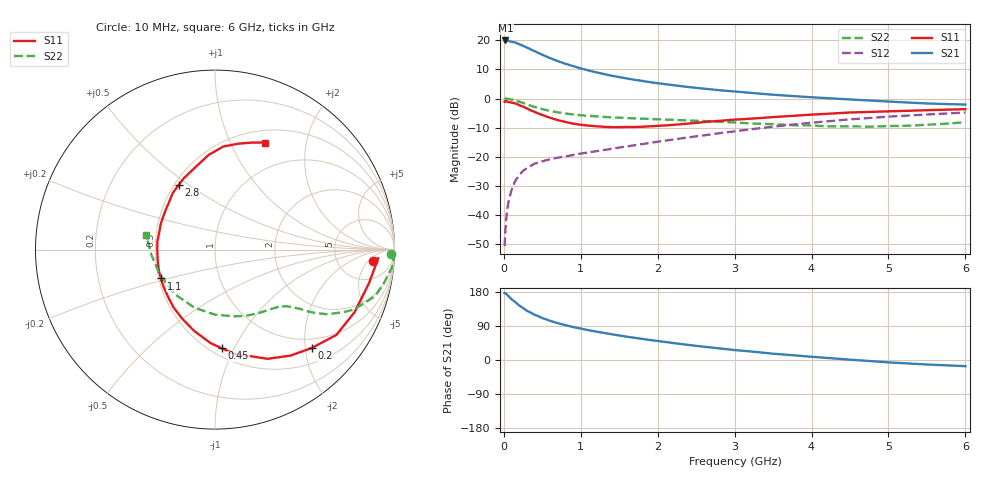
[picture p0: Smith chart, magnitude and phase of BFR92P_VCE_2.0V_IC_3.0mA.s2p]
! Infineon Technologies  Discrete & RF Semiconductors
! BFR92P
! VCE =  2.0 V,  IC =  3.0 mA
! Common Emitter S-Parameters:  Apr 2014
# GHz  S  MA  R  50
!  f  S11  S21  S12  S22
! GHz  MAG  ANG  MAG  ANG  MAG  ANG  MAG  ANG
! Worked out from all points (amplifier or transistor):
!   77 points, 10 MHz to 6 GHz, reference 50 ohm
!   highest |S21| = 20.0 dB at 20 MHz (marker M1)
!   |S21| within 3 dB of that: start of sweep to 343.9 MHz
!   unconditionally stable (mu >= 1): 1.205 GHz to 3.023 GHz
!   at 130 MHz: K = 0.16, MSG = 24.4 dB, |S12| = -29.4 dB
!   at 2.2 GHz: K = 1.08, MAG = 7.6 dB, |S12| = -14.1 dB
!   at 6 GHz: K = 0.90, MSG = 1.4 dB, |S12| = -4.8 dB
!   S11 on the Smith chart (normalised r, x): 10 MHz: 12, -7; 200 MHz: 0.80, -2.14; 450 MHz: 0.57, -0.90; 1.1 GHz: 0.51, -0.19; 2.8 GHz: 0.53, +0.46; 6 GHz: 0.65, +1.36
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0.01  0.8798 -4.1  9.763 176.7  0.0029 87.3  0.9831 -1.3
0.02  0.9105 -3.0  9.953 176.3  0.0054 90.9  0.9986 -2.3
0.05  0.8789 -12.1  9.874 170.6  0.0139 82.0  0.9909 -5.7
0.1  0.8527 -24.0  9.454 160.4  0.0265 76.6  0.9601 -11.1
0.15  0.8268 -35.1  9.181 152.6  0.0387 72.1  0.9298 -16.1
0.2  0.7687 -45.5  8.584 143.6  0.0484 66.6  0.8801 -20.0
0.3  0.6753 -64.3  7.513 129.9  0.0638 59.3  0.7916 -26.2
0.4  0.5887 -79.8  6.515 119.3  0.0757 54.1  0.7173 -30.1
0.45  0.5517 -85.9  6.069 115.4  0.0794 52.7  0.6879 -31.2
0.5  0.5217 -92.7  5.657 110.8  0.0832 51.4  0.6587 -32.4
0.6  0.4668 -104.6  4.954 103.5  0.0903 50.0  0.6133 -33.9
0.7  0.4258 -115.4  4.404 97.3  0.096 49.3  0.5795 -34.8
0.9  0.3703 -135.1  3.601 87.0  0.107 49.1  0.5316 -37.0
1.1  0.3417 -151.9  3.037 78.7  0.1186 50.1  0.5045 -38.8
1.4  0.322 -174.3  2.47 68.0  0.1362 51.6  0.4754 -42.1
1.6  0.3239 172.1  2.211 61.5  0.1501 52.6  0.4617 -45.0
2.1  0.3448 145.6  1.763 47.6  0.189 53.5  0.4351 -53.1
2.8  0.4139 119.1  1.39 30.6  0.2534 51.7  0.3987 -68.0
3.1  0.4412 111.1  1.288 24.5  0.2838 49.4  0.3803 -76.6
4.1  0.5372 92.0  1.033 7.0  0.3942 39.7  0.3377 -113.6
5.1  0.6075 76.6  0.874 -7.4  0.4962 26.1  0.3373 -159.2
6  0.6573 65.1  0.787 -16.3  0.5752 13.3  0.3919 168.1
